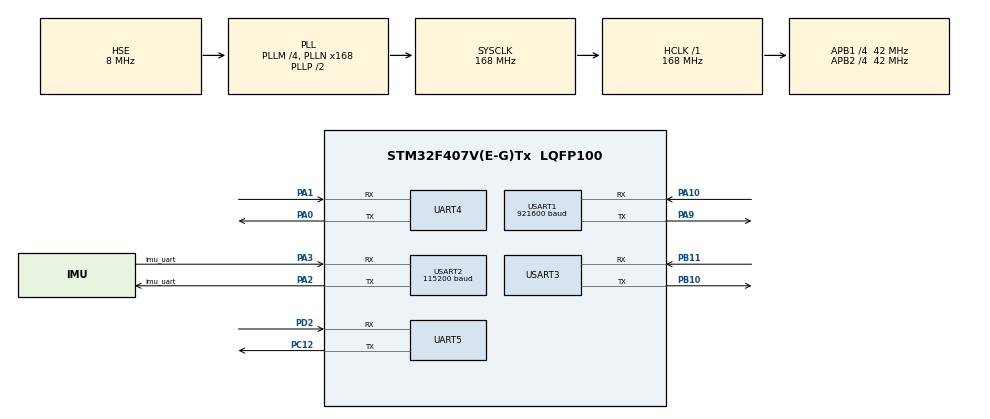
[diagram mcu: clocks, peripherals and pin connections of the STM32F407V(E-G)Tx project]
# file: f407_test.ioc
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Dma.Request0=USART2_RX
Dma.Request1=USART2_TX
Dma.USART2_RX.0.Direction=DMA_PERIPH_TO_MEMORY
Dma.USART2_RX.0.FIFOMode=DMA_FIFOMODE_DISABLE
Dma.USART2_RX.0.Instance=DMA1_Stream5
Dma.USART2_RX.0.MemDataAlignment=DMA_MDATAALIGN_BYTE
Dma.USART2_RX.0.MemInc=DMA_MINC_ENABLE
Dma.USART2_RX.0.Mode=DMA_NORMAL
Dma.USART2_RX.0.PeriphDataAlignment=DMA_PDATAALIGN_BYTE
Dma.USART2_RX.0.PeriphInc=DMA_PINC_DISABLE
Dma.USART2_RX.0.Priority=DMA_PRIORITY_VERY_HIGH
Dma.USART2_TX.1.Direction=DMA_MEMORY_TO_PERIPH
Dma.USART2_TX.1.FIFOMode=DMA_FIFOMODE_DISABLE
Dma.USART2_TX.1.Instance=DMA1_Stream6
Dma.USART2_TX.1.MemDataAlignment=DMA_MDATAALIGN_BYTE
Dma.USART2_TX.1.MemInc=DMA_MINC_ENABLE
Dma.USART2_TX.1.Mode=DMA_NORMAL
Dma.USART2_TX.1.PeriphDataAlignment=DMA_PDATAALIGN_BYTE
Dma.USART2_TX.1.PeriphInc=DMA_PINC_DISABLE
Dma.USART2_TX.1.Priority=DMA_PRIORITY_LOW
Mcu.Family=STM32F4
Mcu.Name=STM32F407V(E-G)Tx
Mcu.Package=LQFP100
NVIC.DMA1_Stream5_IRQn=true\:0\:0\:false\:false\:true\:false\:true\:true
NVIC.DMA1_Stream6_IRQn=true\:0\:0\:false\:false\:true\:false\:true\:true
NVIC.FPU_IRQn=true\:0\:0\:false\:false\:true\:true\:false\:true
NVIC.PriorityGroup=NVIC_PRIORITYGROUP_4
NVIC.TIM6_DAC_IRQn=true\:0\:0\:false\:false\:true\:true\:true\:true
NVIC.UART5_IRQn=true\:0\:0\:false\:false\:true\:true\:true\:true
NVIC.USART1_IRQn=true\:0\:0\:false\:false\:true\:true\:true\:true
NVIC.USART2_IRQn=true\:0\:0\:false\:false\:true\:true\:true\:true
NVIC.USART3_IRQn=true\:0\:0\:false\:false\:true\:true\:true\:true
PA0-WKUP.Mode=Asynchronous
PA0-WKUP.Signal=UART4_TX
PA1.Mode=Asynchronous
PA1.Signal=UART4_RX
PA10.Mode=Asynchronous
PA10.Signal=USART1_RX
PA13.Mode=Serial_Wire
PA13.Signal=SYS_JTMS-SWDIO
PA14.Mode=Serial_Wire
PA14.Signal=SYS_JTCK-SWCLK
PA2.GPIO_Label=imu_uart
PA2.Mode=Asynchronous
PA2.Signal=USART2_TX
PA3.GPIO_Label=imu_uart
PA3.Mode=Asynchronous
PA3.Signal=USART2_RX
PA9.Mode=Asynchronous
PA9.Signal=USART1_TX
PB10.Mode=Asynchronous
PB10.Signal=USART3_TX
PB11.Mode=Asynchronous
PB11.Signal=USART3_RX
PC12.Mode=Asynchronous
PC12.Signal=UART5_TX
PD2.Mode=Asynchronous
PD2.Signal=UART5_RX
PH0-OSC_IN.Mode=HSE-External-Oscillator
PH0-OSC_IN.Signal=RCC_OSC_IN
PH1-OSC_OUT.Mode=HSE-External-Oscillator
PH1-OSC_OUT.Signal=RCC_OSC_OUT
ProjectManager.HeapSize=0x200
ProjectManager.StackSize=0x400
ProjectManager.TargetToolchain=MDK-ARM V5.32
RCC.48MHZClocksFreq_Value=84000000
RCC.AHBFreq_Value=168000000
RCC.APB1CLKDivider=RCC_HCLK_DIV4
RCC.APB1Freq_Value=42000000
RCC.APB1TimFreq_Value=84000000
RCC.APB2CLKDivider=RCC_HCLK_DIV4
RCC.APB2Freq_Value=42000000
RCC.APB2TimFreq_Value=84000000
RCC.CortexFreq_Value=168000000
RCC.HCLKFreq_Value=168000000
RCC.HSE_VALUE=8000000
RCC.HSI_VALUE=16000000
RCC.LSE_VALUE=32768
RCC.PLLM=4
RCC.PLLN=168
RCC.PLLSourceVirtual=RCC_PLLSOURCE_HSE
RCC.SYSCLKFreq_VALUE=168000000
RCC.SYSCLKSource=RCC_SYSCLKSOURCE_PLLCLK
RCC.VCOOutputFreq_Value=336000000
TIM6.AutoReloadPreload=TIM_AUTORELOAD_PRELOAD_ENABLE
TIM6.Period=99
TIM6.Prescaler=8399
UART4.VirtualMode=Asynchronous
UART5.VirtualMode=Asynchronous
USART1.BaudRate=921600
USART1.VirtualMode=VM_ASYNC
USART2.BaudRate=115200
USART2.VirtualMode=VM_ASYNC
USART3.VirtualMode=VM_ASYNC
VP_TIM6_VS_ClockSourceINT.Mode=Enable_Timer
board=custom

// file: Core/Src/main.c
/* USER CODE BEGIN Header */
/**
 ******************************************************************************
 * @file           : main.c
 * @brief          : Main program body
 ******************************************************************************
 * @attention
 *
 * Copyright (c) 2024 STMicroelectronics.
 * All rights reserved.
 *
 * This software is licensed under terms that can be found in the LICENSE file
 * in the root directory of this software component.
 * If no LICENSE file comes with this software, it is provided AS-IS.
 *
 ******************************************************************************
 */
/* USER CODE END Header */
#include "main.h"
#include "dma.h"
#include "tim.h"
#include "usart.h"
#include "gpio.h"

/* USER CODE BEGIN Includes */
#include "debug_mode.h"
#include "motor_ctrl.h"
#include "imu.h"
#include "staMachine.h"
#include "jetson.h"
#include "ui.h"
#include "servo.h"
#include "user_uart.h"
#include <stdio.h>
#include "usr_tim.h"
#include "action.h"
/* USER CODE END Includes */

/* USER CODE BEGIN PV */

// //解码数据结构体
// MSG_SYS_STATE MSSDecodedData;

// //接收数据数组
// uint8_t MSG_SYS_STATE_Buf[MSG_SYS_STATE_LEN];
// uint8_t MSG_EULER_ORIEN_Buf[DATA_LEN(MSG_EULER_ORIEN_LEN)];

// //储存数据数组
// uint8_t MEO_Data[MSG_EULER_ORIEN_LEN];
// extern MSG_EULER_ORIEN MEO_Struct;

uint8_t stop = 0;
/* USER CODE END PV */

void SystemClock_Config(void);

int main(void)
{

  /* MCU Configuration--------------------------------------------------------*/

  /* Reset of all peripherals, Initializes the Flash interface and the Systick. */
  HAL_Init();

  /* Configure the system clock */
  SystemClock_Config();

  /* Initialize all configured peripherals */
  MX_GPIO_Init();
  MX_DMA_Init();
  MX_USART1_UART_Init();
  MX_USART2_UART_Init();
  MX_TIM6_Init();
  MX_USART3_UART_Init();
  MX_UART5_Init();
  MX_UART4_Init();
  /* USER CODE BEGIN 2 */
  // HAL_UARTEx_ReceiveToIdle_DMA(&huart2, (uint8_t *)MSG_EULER_ORIEN_Buf, sizeof(MSG_EULER_ORIEN_Buf));
  //  初始化
  IMU_Data_Init();
  Motor_Init();
  User_Uart_Init(&huart4);
  Motor_Enable_All();
  Jetson_Init();
  UI_Init();

  // Car_Turn(90,200,250);
  // Car_Go(90,1000,10000,250);
  // Car_Go_Target(10000,0,200,150);
  // Delay_ms(13000);
  // Car_Go_Target(-75, 75, 200, 150);

  StateMachine_Init();
  // HuaGui_JiaoZhun();
  //  启动TIM6定时器
  HAL_TIM_Base_Start_IT(&htim6);
  // FSUSExample_SetServoAngle();
  // Servo_Control(0,15,200);

  /* USER CODE END 2 */

  /* Infinite loop */
  /* USER CODE BEGIN WHILE */
  // Motor_SetPosition_A(5, 0, 1000, 200);
  // Jetson_Send();
  // HuaGui_Get_From_Map(1000,230);
  // HuaGui_Fang_To_Map_2(1000,230);
  // HuaGui_ZhuanPan(1000,230);
  // Action_Put_Obj_To_Map(1);
  // Delay_ms(3000);
  // Action_Get_Obj_From_Map(1);
  // Forward();
  // Car_Go_Target(0, -200, 100, 150);
  // Car_Turn_NoUse_IMU(90,400,220);
  // Delay_ms(3000);
  // IMU_Data_Proc();
  // Delay_ms(500);
//Action_Catch_Obj_To_ZhuanPan(1);
  while (1)
  { // Car_Turn(90,400,220);
    //		Car_Go_Target(0, 80, 200, 150);
    // Delay_ms(10000);
    //		Car_Go_Target(0, -80, 200, 150);
    //		 Delay_ms(5000);
    //
    //  Car_Go_Target(150, 0, 50, 50);
    // Delay_ms(7000);
    //  Car_Go_Target(-150, 0, 50, 50);
    //   Delay_ms(7000);
    // Car_Go_Target(0, -1700, 400, 130);
    // Delay_ms(100000);

    // Car_Calibration();

    // Jetson_Send();
    // HAL_UART_Transmit(&huart5, (uint8_t *)"hello 1!\r\n", 16, 0xffff);
    // printf("turn right \r\n");
    // printf("Yaw Angle: %f\n", MEO_Struct.Heading);
    // Car_Turn(90,200,250);

    // Delay_ms(5);
    // Action_Catch_And_Put_First_Obj();

    //		    HuaGui_UP(1000, 230);
    //				Delay_ms(9000);
    //		   HuaGui_ZhuanPan(1000, 230);
    //				Delay_ms(9000);

//    if (End_flag == 1)
//    {
//
//      if (stop == 0 && Car_Turn_Use_IMU(90,200,150))
//      {
//        stop = 1;
//      }
//      if (stop == 1)
//      {
//				//Car_Calibration(200,150);
//        Car_Go_Target(0, 80, 10, 150);
//      }
//      IMU_Data_Proc();
//    }

    // HAL_UART_Transmit(&huart1, (uint8_t *)"hello 1!\r\n", 16, 0xffff);
    if (End_flag == 1)
    {
      StateMachine_Update();
      IMU_Data_Proc();
    }
  }

  /* USER CODE END WHILE */

}

void SystemClock_Config(void)
{
  RCC_OscInitTypeDef RCC_OscInitStruct = {0};
  RCC_ClkInitTypeDef RCC_ClkInitStruct = {0};

  /** Configure the main internal regulator output voltage
   */
  __HAL_RCC_PWR_CLK_ENABLE();
  __HAL_PWR_VOLTAGESCALING_CONFIG(PWR_REGULATOR_VOLTAGE_SCALE1);

  /** Initializes the RCC Oscillators according to the specified parameters
   * in the RCC_OscInitTypeDef structure.
   */
  RCC_OscInitStruct.OscillatorType = RCC_OSCILLATORTYPE_HSE;
  RCC_OscInitStruct.HSEState = RCC_HSE_ON;
  RCC_OscInitStruct.PLL.PLLState = RCC_PLL_ON;
  RCC_OscInitStruct.PLL.PLLSource = RCC_PLLSOURCE_HSE;
  RCC_OscInitStruct.PLL.PLLM = 4;
  RCC_OscInitStruct.PLL.PLLN = 168;
  RCC_OscInitStruct.PLL.PLLP = RCC_PLLP_DIV2;
  RCC_OscInitStruct.PLL.PLLQ = 4;
  if (HAL_RCC_OscConfig(&RCC_OscInitStruct) != HAL_OK)
  {
    Error_Handler();
  }

  /** Initializes the CPU, AHB and APB buses clocks
   */
  RCC_ClkInitStruct.ClockType = RCC_CLOCKTYPE_HCLK | RCC_CLOCKTYPE_SYSCLK | RCC_CLOCKTYPE_PCLK1 | RCC_CLOCKTYPE_PCLK2;
  RCC_ClkInitStruct.SYSCLKSource = RCC_SYSCLKSOURCE_PLLCLK;
  RCC_ClkInitStruct.AHBCLKDivider = RCC_SYSCLK_DIV1;
  RCC_ClkInitStruct.APB1CLKDivider = RCC_HCLK_DIV4;
  RCC_ClkInitStruct.APB2CLKDivider = RCC_HCLK_DIV4;

  if (HAL_RCC_ClockConfig(&RCC_ClkInitStruct, FLASH_LATENCY_5) != HAL_OK)
  {
    Error_Handler();
  }
}

void Error_Handler(void)
{
  __disable_irq();
  while (1)
  {
  }
}
